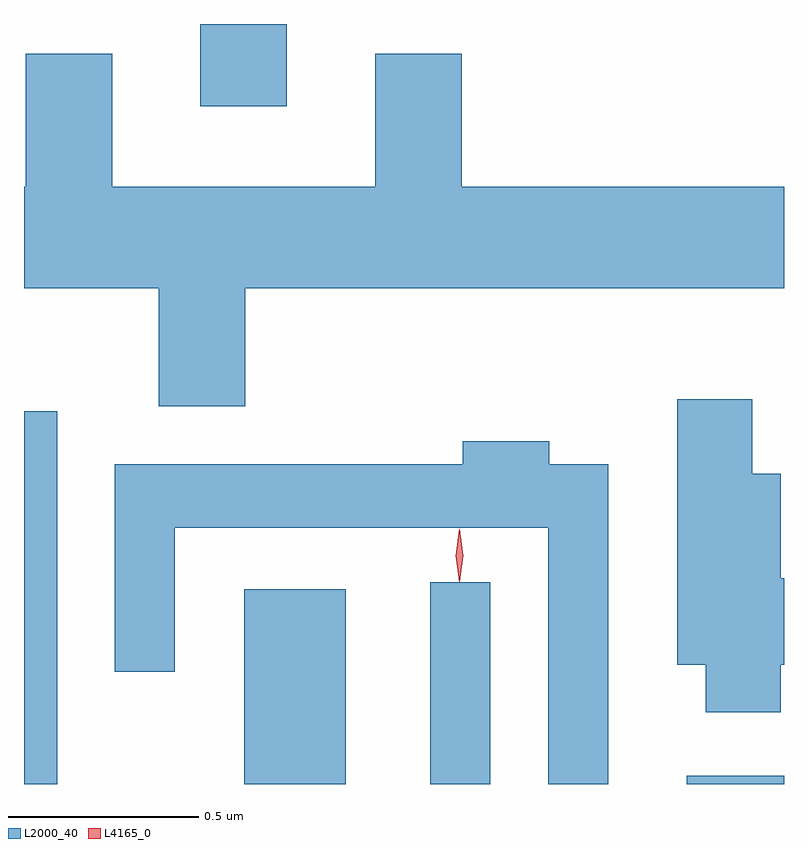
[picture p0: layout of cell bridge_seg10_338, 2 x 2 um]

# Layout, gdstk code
import gdstk
lib = gdstk.Library(unit=1e-6, precision=1e-09)
def R(c, l, rs):  # rectangles x0, y0, x1, y1
    for r in rs: c.add(gdstk.rectangle(r[:2], r[2:], *l))
def P(c, l, *ps):  # polygons
    for p in ps: c.add(gdstk.Polygon(p, *l))
L2000_40 = (2000, 40)
L4165_0 = (4165, 0)

bridge_seg10_338 = lib.new_cell('bridge_seg10_338')
R(bridge_seg10_338, L2000_40, [(1396.467,2159.232,1396.554,2160.213), (1397.046,2159.232,1397.314,2159.744), (1397.536,2159.232,1397.694,2159.763), (1398.211,2159.232,1398.467,2159.254), (1396.931,2161.016,1397.159,2161.232)])
P(bridge_seg10_338, L2000_40, [(1397.049,2160.536),(1398.467,2160.536),(1398.467,2160.804),(1397.619,2160.804),(1397.619,2161.154),(1397.391,2161.154),(1397.391,2160.804),(1396.699,2160.804),(1396.699,2161.154),(1396.471,2161.154),(1396.471,2160.804),(1396.467,2160.804),(1396.467,2160.536),(1396.821,2160.536),(1396.821,2160.226),(1397.049,2160.226)],
  [(1398.459,2159.546),(1398.467,2159.546),(1398.467,2159.774),(1398.459,2159.774),(1398.459,2160.049),(1398.384,2160.049),(1398.384,2160.244),(1398.186,2160.244),(1398.186,2159.546),(1398.261,2159.546),(1398.261,2159.421),(1398.459,2159.421)],
  [(1398.004,2160.074),(1397.849,2160.074),(1397.849,2160.134),(1397.621,2160.134),(1397.621,2160.074),(1396.706,2160.074),(1396.706,2159.528),(1396.864,2159.528),(1396.864,2159.906),(1397.846,2159.906),(1397.846,2159.232),(1398.004,2159.232)])
P(bridge_seg10_338, L4165_0, [(1397.613,2159.764),(1397.613,2159.764),(1397.603,2159.833),(1397.613,2159.902),(1397.613,2159.903),(1397.614,2159.902),(1397.623,2159.833),(1397.614,2159.764)])

lib.write_gds('bridge_seg10_338.gds')
